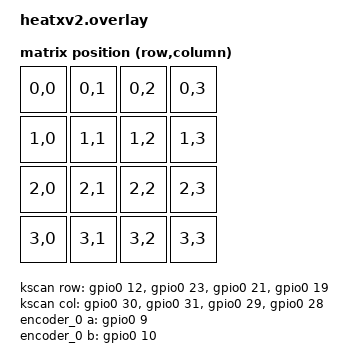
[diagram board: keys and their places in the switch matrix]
#include <dt-bindings/zmk/matrix_transform.h>

#include "heatxv2-layouts.dtsi"

/ {
    chosen {
        zmk,kscan = &kscan;
        zmk,matrix-transform = &default_transform;
        zmk,physical-layout = &default_layout;
    };

    kscan: kscan {
        compatible = "zmk,kscan-gpio-matrix";
        diode-direction = "col2row";
        wakeup-source;

        col-gpios = <
            &gpio0 30 GPIO_ACTIVE_HIGH
            &gpio0 31 GPIO_ACTIVE_HIGH
            &gpio0 29 GPIO_ACTIVE_HIGH
            &gpio0 28 GPIO_ACTIVE_HIGH
        >;

        row-gpios = <
            &gpio0 12 (GPIO_ACTIVE_HIGH | GPIO_PULL_DOWN)
            &gpio0 23 (GPIO_ACTIVE_HIGH | GPIO_PULL_DOWN)
            &gpio0 21 (GPIO_ACTIVE_HIGH | GPIO_PULL_DOWN)
            &gpio0 19 (GPIO_ACTIVE_HIGH | GPIO_PULL_DOWN)
        >;

        debounce-press-ms = <5>;
        debounce-release-ms = <5>;
    };

    default_transform: keymap_transform0 {
        compatible = "zmk,matrix-transform";
        columns = <4>;
        rows = <4>;
        map = <
            RC(0,0) RC(0,1) RC(0,2) RC(0,3)
            RC(1,0) RC(1,1) RC(1,2) RC(1,3)
            RC(2,0) RC(2,1) RC(2,2) RC(2,3)
            RC(3,0) RC(3,1) RC(3,2) RC(3,3)
        >;
    };

    encoder_0: encoder_0 {
        compatible = "zmk,encoder-ec11";
        a-gpios = <&gpio0 9 (GPIO_PULL_UP | GPIO_ACTIVE_LOW)>;
        b-gpios = <&gpio0 10 (GPIO_PULL_UP | GPIO_ACTIVE_LOW)>;
        resolution = <4>;
    };
};
